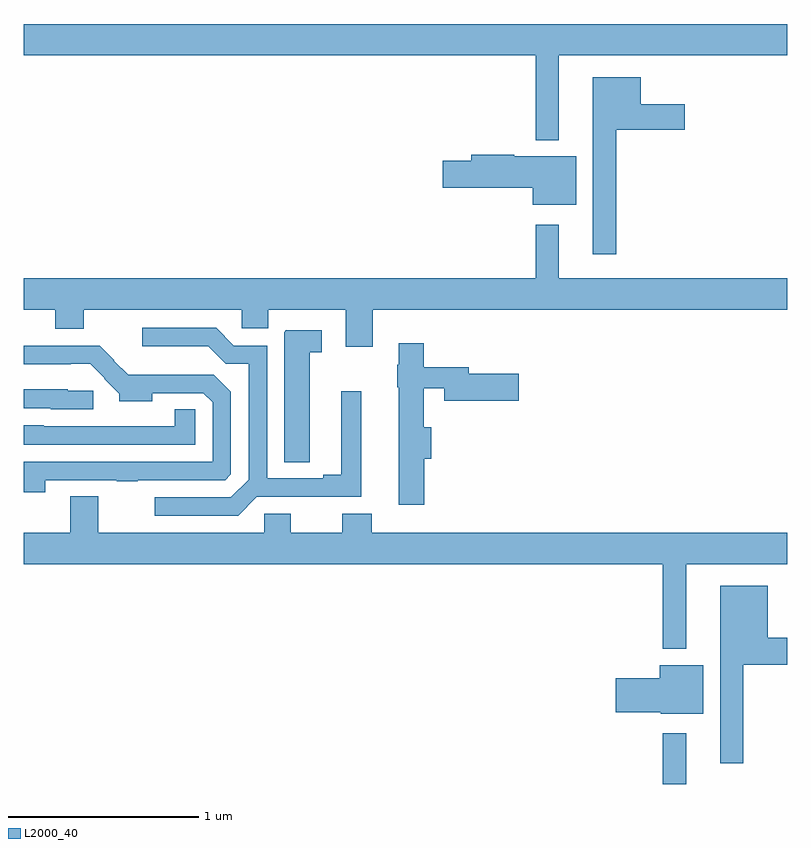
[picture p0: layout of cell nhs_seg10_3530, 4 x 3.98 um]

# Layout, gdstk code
import gdstk
lib = gdstk.Library(unit=1e-6, precision=1e-09)
def R(c, l, rs):  # rectangles x0, y0, x1, y1
    for r in rs: c.add(gdstk.rectangle(r[:2], r[2:], *l))
def P(c, l, *ps):  # polygons
    for p in ps: c.add(gdstk.Polygon(p, *l))
L2000_40 = (2000, 40)

nhs_seg10_3530 = lib.new_cell('nhs_seg10_3530')
R(nhs_seg10_3530, L2000_40, [(306.348,1296.5,306.469,1296.766)])
P(nhs_seg10_3530, L2000_40, [(305.803,1300.316),(307,1300.316),(307,1300.48),(303,1300.48),(303,1300.316),(305.682,1300.316),(305.682,1299.979),(305.683,1299.979),(305.683,1299.872),(305.803,1299.872)],
  [(306.103,1299.926),(306.463,1299.926),(306.463,1300.06),(306.232,1300.06),(306.232,1300.201),(305.981,1300.201),(305.981,1299.273),(306.103,1299.273)],
  [(305.893,1299.787),(305.57,1299.787),(305.57,1299.794),(305.345,1299.794),(305.345,1299.764),(305.196,1299.764),(305.196,1299.622),(305.666,1299.622),(305.666,1299.533),(305.893,1299.533)],
  [(304.828,1298.984),(307,1298.984),(307,1299.148),(305.803,1299.148),(305.803,1299.43),(305.682,1299.43),(305.682,1299.148),(303,1299.148),(303,1298.984),(303.167,1298.984),(303.167,1298.885),(303.315,1298.885),(303.315,1298.984),(304.143,1298.984),(304.143,1298.886),(304.282,1298.886),(304.282,1298.984),(304.688,1298.984),(304.688,1298.79),(304.828,1298.79)],
  [(304.222,1298.004),(304.768,1298.004),(304.768,1298.557),(304.664,1298.557),(304.664,1298.12),(304.568,1298.12),(304.568,1298.1),(304.275,1298.1),(304.275,1298.796),(304.101,1298.796),(304.008,1298.889),(303.621,1298.889),(303.621,1298.792),(303.967,1298.792),(304.058,1298.701),(304.179,1298.701),(304.179,1298.094),(304.086,1298.001),(303.687,1298.001),(303.687,1297.905),(304.123,1297.905)],
  [(304.498,1298.761),(304.561,1298.761),(304.561,1298.877),(304.374,1298.877),(304.364,1298.867),(304.364,1298.185),(304.498,1298.185)],
  [(305.099,1298.203),(305.135,1298.203),(305.135,1298.368),(305.096,1298.368),(305.096,1298.573),(305.204,1298.573),(305.204,1298.507),(305.593,1298.507),(305.593,1298.649),(305.332,1298.649),(305.332,1298.683),(305.096,1298.683),(305.096,1298.809),(304.964,1298.809),(304.964,1298.696),(304.957,1298.696),(304.957,1298.577),(304.964,1298.577),(304.964,1297.962),(305.099,1297.962)],
  [(303.114,1298.091),(303.487,1298.091),(303.487,1298.086),(303.599,1298.086),(303.599,1298.091),(304.056,1298.091),(304.086,1298.121),(304.086,1298.553),(303.997,1298.642),(303.881,1298.642),(303.881,1298.644),(303.547,1298.644),(303.473,1298.717),(303.475,1298.719),(303.399,1298.796),(303,1298.796),(303,1298.699),(303.248,1298.699),(303.248,1298.702),(303.35,1298.702),(303.426,1298.625),(303.423,1298.622),(303.502,1298.544),(303.502,1298.504),(303.673,1298.504),(303.673,1298.547),(303.942,1298.547),(303.99,1298.499),(303.99,1298.187),(303,1298.187),(303,1298.028),(303.114,1298.028)],
  [(303.366,1298.559),(303.231,1298.559),(303.231,1298.566),(303,1298.566),(303,1298.469),(303.141,1298.469),(303.141,1298.463),(303.366,1298.463)],
  [(303.9,1298.462),(303.792,1298.462),(303.792,1298.374),(303.537,1298.374),(303.537,1298.373),(303.105,1298.373),(303.105,1298.38),(303,1298.38),(303,1298.277),(303.9,1298.277)],
  [(304.26,1297.914),(304.26,1297.816),(303.391,1297.816),(303.391,1298.006),(303.244,1298.006),(303.244,1297.816),(303,1297.816),(303,1297.652),(306.348,1297.652),(306.348,1297.208),(306.469,1297.208),(306.469,1297.652),(307,1297.652),(307,1297.816),(304.823,1297.816),(304.823,1297.915),(304.67,1297.915),(304.67,1297.816),(304.399,1297.816),(304.399,1297.914)],
  [(306.769,1297.124),(307,1297.124),(307,1297.266),(306.898,1297.266),(306.898,1297.537),(306.647,1297.537),(306.647,1296.609),(306.769,1296.609)],
  [(306.559,1297.123),(306.332,1297.123),(306.332,1297.055),(306.102,1297.055),(306.102,1296.877),(306.336,1296.877),(306.336,1296.869),(306.559,1296.869)])

lib.write_gds('nhs_seg10_3530.gds')
